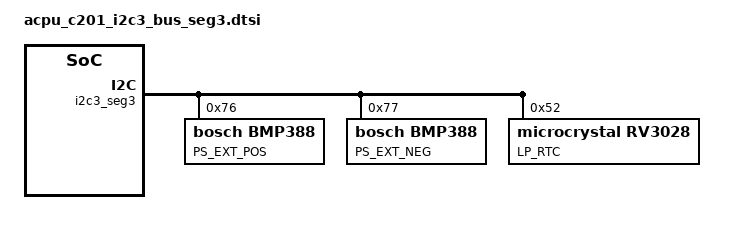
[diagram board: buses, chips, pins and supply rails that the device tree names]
/*
 * Copyright (c) 2021 Acme CPU
 *
 */

&i2c3_seg3 {

  p121_ps_ext: bmp388@76 {
    compatible = "bosch,bmp388";
    reg = <0x76>;
    label = "PS_EXT_POS";
    odr = "25";			/* data rate = 25Hz */
    osr-press = <1>;	/* pressure oversampling = No */
    osr-temp = <1>;		/* temperature oversampling = No */
    iir-filter = <0>;	/* iir filter = default val */
  };

  p122_ps_ext: bmp388@77 {
    compatible = "bosch,bmp388";
    reg = <0x77>;
    label = "PS_EXT_NEG";
    odr = "25";			/* data rate = 25Hz */
    osr-press = <1>;	/* pressure oversampling = No */
    osr-temp = <1>;		/* temperature oversampling = No */
    iir-filter = <0>;	/* iir filter = default val */
  };

  p26_rtc: rv3028@52 {
    compatible = "microcrystal,rv3028";
    reg = <0x52>;
    trickle-resistor-ohms = <3000>;
    label = "LP_RTC";
  };

};
